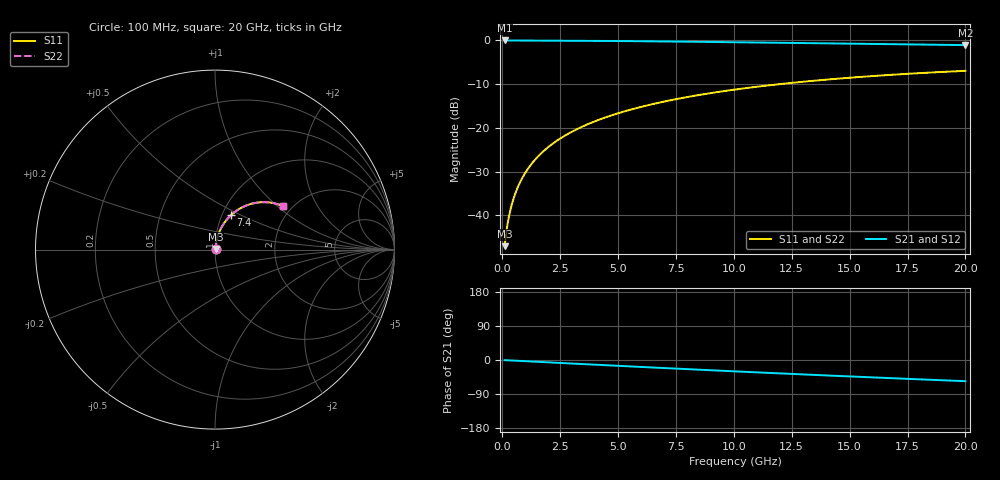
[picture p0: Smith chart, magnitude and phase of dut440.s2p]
! Touchstone file exported from HFSS 2026.1.0
!  File:  C:/ffzhzh/LocalFiles/Ansys_Project_Files/temp_train_TMRDL_440_1783005628_4048.aedt
!  Generated:  11:22:01 PM Jul  2, 2026
!  Design:  TMRDL
!  Project:  temp_train_TMRDL_440_1783005628_4048
! Variables:
!  h_bsmrdl = 2um
!  h_ox = 20um
!  h_rdl = 5um
!  h_sub = 80um
!  h_tmrdl = 4.3um
!  h_tsv = 80um
!  h_via = 3um
!  l_bsmrdl = 300um
!  l_sub = 1269.85um
!  l_tmrdl = 869.85um
!  m_sub = 200um
!  pitch = 55.87um
!  r_tsv = 6um
!  s_tmrdl = 10um
!  w_bsmrdl = 18um
!  w_sub = 500um
!  w_tmrdl = 26.63um
!  x_tsv_center1 = 883.165um
!  x_tsv_center2 = 1201.165um
!  x_tsv_center3 = 2097.645um
!  x_tsv_center4 = 2415.645um
!  x_tsv_center5 = 3312.125um
!  x_tsv_center6 = 3630.125um
# GHz S MA R 50.000000
! Terminal data exported
! Port[1] = TM_RDL1_1_T1
! Port[2] = TM_RDL1_1_T2
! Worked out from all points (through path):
!   200 points, 100 MHz to 20 GHz, reference 50 ohm
!   highest |S21| = -0.03 dB at 100 MHz (marker M1); lowest = -1.1 dB at 20 GHz (marker M2)
!   group delay of S21, straight-line fit = 7.76 ps
!   lowest |S11| = -47.0 dB at 100 MHz (marker M3), VSWR 1.01, Z = 50.3 + j0.336 ohm
!   |S11| at or under -10 dB: start of sweep to 11.99 GHz
!   |S22| runs from -47.0 to -7.0 dB; largest |S21 - S12| = 1.8e-14
!   S11 on the Smith chart (normalised r, x): 100 MHz: 1.01, +0.01; 7.4 GHz: 1.10, +0.44; 20 GHz: 1.79, +1.09
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0.1  0.004446 48.7  0.9971 -0.3  0.9971 -0.3  0.004446 48.7
! Gamma 0 0 0 0
! Port Impedance 50 0 50 0
0.2  0.007248 63.6  0.9968 -0.7  0.9968 -0.7  0.007248 63.6
0.3  0.01014 69.8  0.9966 -1.0  0.9966 -1.0  0.01014 69.8
0.4  0.01305 73.3  0.9965 -1.3  0.9965 -1.3  0.01305 73.3
0.5  0.01598 75.6  0.9963 -1.6  0.9963 -1.6  0.01598 75.6
0.7  0.0219 78.1  0.9961 -2.2  0.9961 -2.2  0.0219 78.1
0.8  0.02487 78.9  0.996 -2.5  0.996 -2.5  0.02487 78.9
1  0.03085 79.7  0.9957 -3.1  0.9957 -3.1  0.03085 79.7
1.2  0.03684 80.1  0.9954 -3.8  0.9954 -3.8  0.03684 80.1
1.4  0.04283 80.2  0.9951 -4.4  0.9951 -4.4  0.04283 80.2
1.7  0.05179 80.0  0.9945 -5.3  0.9945 -5.3  0.05179 80.0
2  0.06073 79.6  0.9938 -6.2  0.9938 -6.2  0.06073 79.6
2.7  0.08139 78.1  0.9918 -8.4  0.9918 -8.4  0.08139 78.1
3.5  0.1046 76.1  0.9889 -10.9  0.9889 -10.9  0.1046 76.1
4.2  0.1245 74.2  0.9861 -13.0  0.9861 -13.0  0.1245 74.2
5  0.1468 72.0  0.9824 -15.4  0.9824 -15.4  0.1468 71.9
6.8  0.1948 66.9  0.9727 -20.7  0.9727 -20.7  0.1948 66.9
7.4  0.2102 65.2  0.9692 -22.5  0.9692 -22.5  0.2102 65.2
10.1  0.2752 57.8  0.9516 -30.2  0.9516 -30.2  0.2752 57.8
13.4  0.3445 49.1  0.9281 -39.2  0.9281 -39.2  0.3445 49.0
16.7  0.4022 40.7  0.9043 -47.7  0.9043 -47.7  0.4022 40.7
20  0.4485 32.8  0.8823 -55.9  0.8823 -55.9  0.4485 32.7
